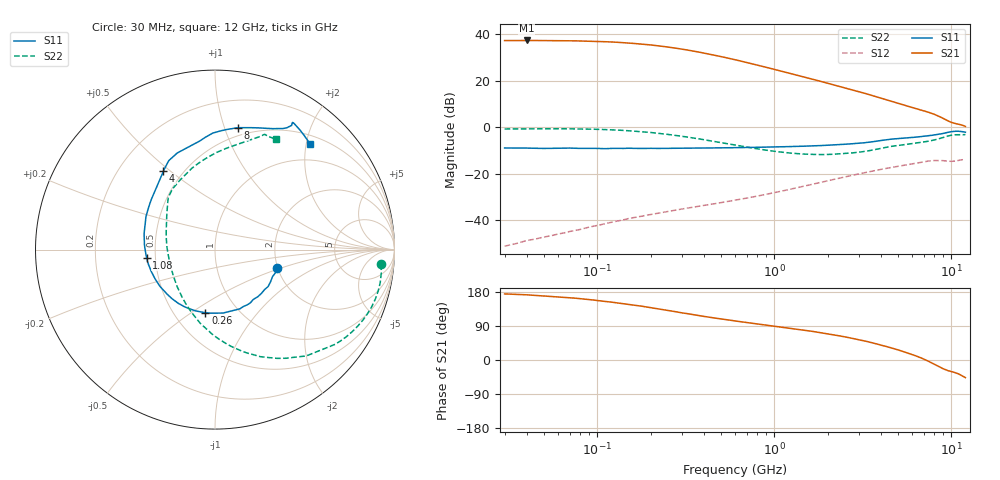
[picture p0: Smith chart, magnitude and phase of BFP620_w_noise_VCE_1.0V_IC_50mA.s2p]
! Infineon Technologies  Discrete & RF Semiconductors
! BFP620
! VCE =  1.0 V,  IC =  50 mA
! Common Emitter S-Parameters:  Nov 2015
# GHz  S  MA  R  50
!  f  S11  S21  S12  S22
! GHz  MAG  ANG  MAG  ANG  MAG  ANG  MAG  ANG
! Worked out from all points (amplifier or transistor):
!   239 points, 30 MHz to 12 GHz, reference 50 ohm
!   highest |S21| = 37.4 dB at 40 MHz (marker M1)
!   |S21| within 3 dB of that: start of sweep to 260.1 MHz
!   unconditionally stable (mu >= 1): 1.919 GHz to end of sweep
!   at 300 MHz: K = 0.49, MSG = 34.4 dB, |S12| = -35.1 dB
!   at 1.88 GHz: K = 1.00, MSG = 21.5 dB, |S12| = -23.4 dB
!   at 12 GHz: K = 1.08, MAG = 5.5 dB, |S12| = -13.9 dB
!   lowest NFmin = 1.51 dB at 450 MHz
!   S11 on the Smith chart (normalised r, x): 30 MHz: 1.99, -0.46; 260 MHz: 0.71, -0.57; 1.08 GHz: 0.45, -0.05; 4 GHz: 0.39, +0.47; 8 GHz: 0.43, +1.11; 12 GHz: 0.66, +2.08
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0.03  0.3622 -16.2  74.02 174.4  0.0028 93.7  0.9285 -5.1
0.04  0.3604 -21.1  74.39 172.0  0.0037 91.3  0.9357 -8.1
0.07  0.3605 -34.8  73.5 164.4  0.0058 83.4  0.935 -17.1
0.085  0.3549 -41.1  72.19 160.7  0.0068 80.9  0.9253 -21.4
0.115  0.3528 -54.3  69.57 153.8  0.0088 76.6  0.8962 -29.6
0.135  0.3552 -61.6  67.33 149.7  0.01 74.6  0.8716 -34.7
0.165  0.3547 -71.8  63.67 144.3  0.0117 71.4  0.8274 -41.4
0.2  0.3564 -82.8  59.64 138.0  0.0134 69.0  0.7806 -49.4
0.24  0.355 -93.7  54.87 132.2  0.0152 66.6  0.7235 -56.8
0.26  0.3559 -98.6  52.67 129.5  0.0161 65.7  0.6976 -60.3
0.3  0.358 -107.5  48.5 124.5  0.0176 64.2  0.6483 -67.0
0.4  0.3626 -124.5  39.86 115.1  0.0211 62.3  0.5462 -80.6
0.5  0.3644 -137.0  33.38 108.2  0.0242 61.5  0.4722 -91.8
0.6  0.3689 -146.3  28.58 103.0  0.0273 61.3  0.4188 -101.3
0.8  0.375 -160.2  21.95 95.1  0.0334 61.2  0.3479 -117.0
1.08  0.3839 -173.3  16.5 87.3  0.0422 60.5  0.2971 -134.5
1.64  0.4022 169.0  10.95 75.6  0.06 56.9  0.263 -160.9
2.4  0.4319 151.0  7.423 62.6  0.0833 49.8  0.2716 172.7
4  0.5244 123.3  4.28 39.2  0.1256 32.3  0.3553 138.5
4.5  0.5589 117.4  3.741 32.7  0.1363 27.1  0.3892 132.0
8  0.6908 79.5  1.924 -11.2  0.1946 -10.9  0.5393 89.5
12  0.792 47.9  1.054 -46.5  0.2011 -42.8  0.7026 61.2
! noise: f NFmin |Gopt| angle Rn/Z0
0.45  1.51  0.29  -166  0.1
0.9  1.52  0.32  -155  0.11
1.9  1.54  0.35  -138  0.12
2.4  1.56  0.35  -136  0.13
3.5  1.59  0.41  -105  0.23
5.5  1.87  0.43  -85  0.32
10  2.18  0.66  -43  1.22
